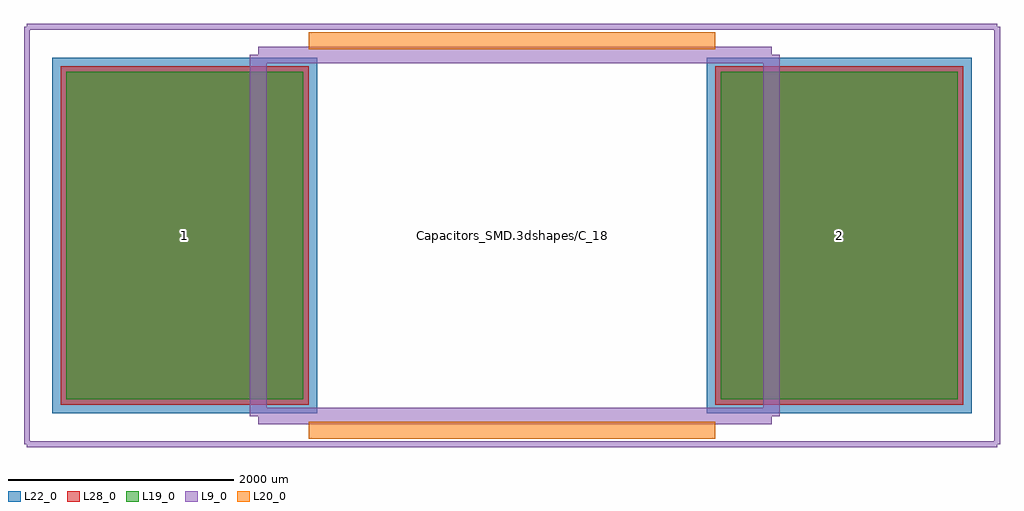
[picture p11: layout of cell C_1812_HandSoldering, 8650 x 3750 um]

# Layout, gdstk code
import gdstk
lib = gdstk.Library(unit=1e-6, precision=1e-09)
def R(c, l, rs):  # rectangles x0, y0, x1, y1
    for r in rs: c.add(gdstk.rectangle(r[:2], r[2:], *l))
L9_0 = (9, 0)
L19_0 = (19, 0)
L20_0 = (20, 0)
L22_0 = (22, 0)
L28_0 = (28, 0)

c_1812_handsoldering = lib.new_cell('C_1812_HandSoldering')
R(c_1812_handsoldering, L19_0, [(-3950,-1450,-1850,1450), (1850,-1450,3950,1450)])
R(c_1812_handsoldering, L22_0, [(-4075,-1575,-1725,1575), (1725,-1575,4075,1575)])
R(c_1812_handsoldering, L28_0, [(-4000,-1500,-1800,1500), (1800,-1500,4000,1500)])
c_1812_handsoldering.add(gdstk.FlexPath([(-1800,-1725),(1800,-1725)], 149.998, ends="flush", simple_path=True, layer=20, datatype=0))  # L20_0
c_1812_handsoldering.add(gdstk.FlexPath([(1800,1725),(-1800,1725)], 149.998, ends="flush", simple_path=True, layer=20, datatype=0))  # L20_0
c_1812_handsoldering.add(gdstk.FlexPath([(4300,1850),(4300,-1850)], 50, ends="flush", simple_path=True, layer=9, datatype=0))  # L9_0
c_1812_handsoldering.add(gdstk.FlexPath([(-4300,1850),(-4300,-1850)], 50, ends="flush", simple_path=True, layer=9, datatype=0))  # L9_0
c_1812_handsoldering.add(gdstk.FlexPath([(-4300,-1850),(4300,-1850)], 50, ends="flush", simple_path=True, layer=9, datatype=0))  # L9_0
c_1812_handsoldering.add(gdstk.FlexPath([(-4300,1850),(4300,1850)], 50, ends="flush", simple_path=True, layer=9, datatype=0))  # L9_0
c_1812_handsoldering.add(gdstk.FlexPath([(-2250,1600),(2300,1600)], 149.998, ends="flush", simple_path=True, layer=9, datatype=0))  # L9_0
c_1812_handsoldering.add(gdstk.FlexPath([(2300,1600),(2300,-1600)], 149.998, ends="flush", simple_path=True, layer=9, datatype=0))  # L9_0
c_1812_handsoldering.add(gdstk.FlexPath([(2300,-1600),(-2250,-1600)], 149.998, ends="flush", simple_path=True, layer=9, datatype=0))  # L9_0
c_1812_handsoldering.add(gdstk.FlexPath([(-2250,-1600),(-2250,1600)], 149.998, ends="flush", simple_path=True, layer=9, datatype=0))  # L9_0
c_1812_handsoldering.add(gdstk.Label('Capacitors_SMD.3dshapes/C_1812_HandSoldering.wrl', (0,0), layer=12, texttype=0))
c_1812_handsoldering.add(gdstk.Label('2', (2900,0), layer=28, texttype=0))
c_1812_handsoldering.add(gdstk.Label('1', (-2900,0), layer=28, texttype=0))
c_1812_handsoldering.add(gdstk.Label('type', (0,-3000), layer=9, texttype=0))
c_1812_handsoldering.add(gdstk.Label('devicename', (0,3000), layer=9, texttype=0))

lib.write_gds('C_1812_HandSoldering.gds')
